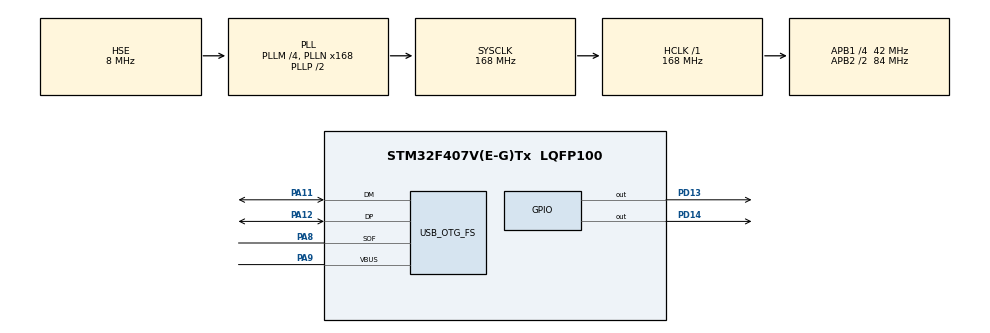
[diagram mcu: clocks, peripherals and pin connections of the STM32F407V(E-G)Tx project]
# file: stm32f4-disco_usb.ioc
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FREERTOS.Tasks01=defaultTask,24,128,StartDefaultTask,Default,NULL,Dynamic,NULL,NULL
FREERTOS.configENABLE_FPU=1
FREERTOS.configTOTAL_HEAP_SIZE=32768
FREERTOS.configUSE_NEWLIB_REENTRANT=1
Mcu.Family=STM32F4
Mcu.Name=STM32F407V(E-G)Tx
Mcu.Package=LQFP100
NVIC.OTG_FS_IRQn=true\:5\:0\:false\:false\:true\:true\:false\:true\:true
NVIC.PriorityGroup=NVIC_PRIORITYGROUP_4
NVIC.TIM1_UP_TIM10_IRQn=true\:15\:0\:false\:false\:true\:false\:false\:true\:true
NVIC.TimeBase=TIM1_UP_TIM10_IRQn
NVIC.TimeBaseIP=TIM1
PA11.Mode=Device_Only
PA11.Signal=USB_OTG_FS_DM
PA12.Mode=Device_Only
PA12.Signal=USB_OTG_FS_DP
PA13.Mode=Serial_Wire
PA13.Signal=SYS_JTMS-SWDIO
PA14.Mode=Serial_Wire
PA14.Signal=SYS_JTCK-SWCLK
PA8.Mode=Activate_SOF_FS
PA8.Signal=USB_OTG_FS_SOF
PA9.Mode=Activate_VBUS
PA9.Signal=USB_OTG_FS_VBUS
PD13.Signal=GPIO_Output
PD14.Signal=GPIO_Output
PH0-OSC_IN.Mode=HSE-External-Oscillator
PH0-OSC_IN.Signal=RCC_OSC_IN
PH1-OSC_OUT.Mode=HSE-External-Oscillator
PH1-OSC_OUT.Signal=RCC_OSC_OUT
ProjectManager.HeapSize=0x200
ProjectManager.StackSize=0x400
ProjectManager.TargetToolchain=STM32CubeIDE
RCC.48MHZClocksFreq_Value=48000000
RCC.AHBFreq_Value=168000000
RCC.APB1CLKDivider=RCC_HCLK_DIV4
RCC.APB1Freq_Value=42000000
RCC.APB1TimFreq_Value=84000000
RCC.APB2CLKDivider=RCC_HCLK_DIV2
RCC.APB2Freq_Value=84000000
RCC.APB2TimFreq_Value=168000000
RCC.CortexFreq_Value=168000000
RCC.HCLKFreq_Value=168000000
RCC.HSE_VALUE=8000000
RCC.HSI_VALUE=16000000
RCC.LSE_VALUE=32768
RCC.PLLM=4
RCC.PLLN=168
RCC.PLLQ=7
RCC.SYSCLKFreq_VALUE=168000000
RCC.SYSCLKSource=RCC_SYSCLKSOURCE_PLLCLK
RCC.VCOOutputFreq_Value=336000000
USB_DEVICE.CLASS_NAME_FS=CDC
USB_DEVICE.VirtualMode-CDC_FS=Cdc
USB_DEVICE.VirtualModeFS=Cdc_FS
USB_OTG_FS.VirtualMode=Device_Only
VP_FREERTOS_VS_CMSIS_V2.Mode=CMSIS_V2
VP_SYS_VS_tim1.Mode=TIM1
VP_USB_DEVICE_VS_USB_DEVICE_CDC_FS.Mode=CDC_FS
board=custom

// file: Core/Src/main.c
/* USER CODE BEGIN Header */
/**
  ******************************************************************************
  * @file           : main.c
  * @brief          : Main program body
  ******************************************************************************
  * @attention
  *
  * Copyright (c) 2022 STMicroelectronics.
  * All rights reserved.
  *
  * This software is licensed under terms that can be found in the LICENSE file
  * in the root directory of this software component.
  * If no LICENSE file comes with this software, it is provided AS-IS.
  *
  ******************************************************************************
  */
/* USER CODE END Header */
#include "main.h"
#include "cmsis_os.h"
#include "usb_device.h"

/* USER CODE BEGIN Includes */
#include "FreeRTOS.h"
#include "usbd_cdc_if.h"
#include "message_buffer.h"
#include "FreeRTOS_CLI.h"
#include "string.h"
//#include "arm_const_structs.h"
#include "semphr.h"
/* USER CODE END Includes */

/* USER CODE BEGIN PD */
#define MAX_INPUT_LENGTH    50
#define MAX_OUTPUT_LENGTH   512

/* USER CODE END PD */

/* Definitions for defaultTask */
osThreadId_t defaultTaskHandle;
const osThreadAttr_t defaultTask_attributes = {
  .name = "defaultTask",
  .stack_size = 512 * 4,
  .priority = (osPriority_t) osPriorityNormal,
};
/* USER CODE BEGIN PV */
TaskHandle_t task_server;
/* USER CODE END PV */

void SystemClock_Config(void);
static void MX_GPIO_Init(void);
void StartDefaultTask(void *argument);

/* USER CODE BEGIN 0 */
uint16_t adcBuffer[256];
float ReIm[256*2];
float mod[256];
xSemaphoreHandle sem;
uint16_t sin_wave[256] = {2048, 2098, 2148, 2199, 2249, 2299, 2349, 2399, 2448, 2498, 2547, 2596, 2644, 2692, 2740,
		2787, 2834, 2880, 2926, 2971, 3016, 3060, 3104, 3147, 3189, 3230, 3271, 3311, 3351, 3389,
		3427, 3464, 3500, 3535, 3569, 3602, 3635, 3666, 3697, 3726, 3754, 3782, 3808, 3833, 3857,
		3880, 3902, 3923, 3943, 3961, 3979, 3995, 4010, 4024, 4036, 4048, 4058, 4067, 4074, 4081,
		4086, 4090, 4093, 4095, 4095, 4094, 4092, 4088, 4084, 4078, 4071, 4062, 4053, 4042, 4030,
		4017, 4002, 3987, 3970, 3952, 3933, 3913, 3891, 3869, 3845, 3821, 3795, 3768, 3740, 3711,
		3681, 3651, 3619, 3586, 3552, 3517, 3482, 3445, 3408, 3370, 3331, 3291, 3251, 3210, 3168,
		3125, 3082, 3038, 2994, 2949, 2903, 2857, 2811, 2764, 2716, 2668, 2620, 2571, 2522, 2473,
		2424, 2374, 2324, 2274, 2224, 2174, 2123, 2073, 2022, 1972, 1921, 1871, 1821, 1771, 1721,
		1671, 1622, 1573, 1524, 1475, 1427, 1379, 1331, 1284, 1238, 1192, 1146, 1101, 1057, 1013,
		970, 927, 885, 844, 804, 764, 725, 687, 650, 613, 578, 543, 509, 476, 444,
		414, 384, 355, 327, 300, 274, 250, 226, 204, 182, 162, 143, 125, 108, 93,
		78, 65, 53, 42, 33, 24, 17, 11, 7, 3, 1, 0, 0, 2, 5,
		9, 14, 21, 28, 37, 47, 59, 71, 85, 100, 116, 134, 152, 172, 193,
		215, 238, 262, 287, 313, 341, 369, 398, 429, 460, 493, 526, 560, 595, 631,
		668, 706, 744, 784, 824, 865, 906, 948, 991, 1035, 1079, 1124, 1169, 1215, 1261,
		1308, 1355, 1403, 1451, 1499, 1548, 1597, 1647, 1696, 1746, 1796, 1846, 1896, 1947, 1997,
		2047};

uint16_t sin_wave_3rd_harmonic[256] = {2048, 2136, 2224, 2311, 2398, 2484, 2569, 2652, 2734, 2814, 2892, 2968, 3041, 3112, 3180,
		3245, 3308, 3367, 3423, 3476, 3526, 3572, 3615, 3654, 3690, 3723, 3752, 3778, 3800, 3819,
		3835, 3848, 3858, 3866, 3870, 3872, 3871, 3869, 3864, 3857, 3848, 3838, 3827, 3814, 3801,
		3786, 3771, 3756, 3740, 3725, 3709, 3694, 3679, 3665, 3652, 3639, 3628, 3617, 3608, 3600,
		3594, 3589, 3585, 3584, 3583, 3584, 3587, 3591, 3597, 3604, 3613, 3622, 3633, 3645, 3658,
		3672, 3686, 3701, 3717, 3732, 3748, 3764, 3779, 3794, 3808, 3821, 3833, 3844, 3853, 3860,
		3866, 3870, 3872, 3871, 3868, 3862, 3854, 3842, 3828, 3810, 3789, 3765, 3738, 3707, 3673,
		3635, 3594, 3549, 3501, 3450, 3396, 3338, 3277, 3213, 3146, 3077, 3005, 2930, 2853, 2774,
		2693, 2611, 2527, 2441, 2355, 2268, 2180, 2092, 2003, 1915, 1827, 1740, 1654, 1568, 1484,
		1402, 1321, 1242, 1165, 1090, 1018, 949, 882, 818, 757, 699, 645, 594, 546, 501,
		460, 422, 388, 357, 330, 306, 285, 267, 253, 241, 233, 227, 224, 223, 225,
		229, 235, 242, 251, 262, 274, 287, 301, 316, 331, 347, 363, 378, 394, 409,
		423, 437, 450, 462, 473, 482, 491, 498, 504, 508, 511, 512, 511, 510, 506,
		501, 495, 487, 478, 467, 456, 443, 430, 416, 401, 386, 370, 355, 339, 324,
		309, 294, 281, 268, 257, 247, 238, 231, 226, 224, 223, 225, 229, 237, 247,
		260, 276, 295, 317, 343, 372, 405, 441, 480, 523, 569, 619, 672, 728, 787,
		850, 915, 983, 1054, 1127, 1203, 1281, 1361, 1443, 1526, 1611, 1697, 1784, 1871, 1959,
		2047};

//void HAL_ADC_ConvCpltCallback(ADC_HandleTypeDef* hadc){
//	xSemaphoreGiveFromISR(sem, pdFALSE);
//}

volatile int counter = 0;
volatile int flag = 0;
volatile float fund_phase;
//void HAL_DACEx_ConvCpltCallbackCh2(DAC_HandleTypeDef* hadc){
//	counter++;
//	if (counter >= 120){
//		counter = 0;
//		HAL_TIM_Base_Stop(&htim2);
//		HAL_DAC_Stop_DMA(&hdac, DAC_CHANNEL_2);
//
//		//if (flag == 0){
//			HAL_DAC_Start_DMA(&hdac, DAC_CHANNEL_2, (uint32_t*)sin_wave_3rd_harmonic, 256, DAC_ALIGN_12B_R);
//			flag = 1;
//		//}else{
//			//HAL_DAC_Start_DMA(&hdac, DAC_CHANNEL_2, (uint32_t*)sin_wave, 256, DAC_ALIGN_12B_R);
//			//flag = 0;
//		//}
//	    HAL_TIM_Base_Start(&htim2);
//	}
//}

//void task_harmonics(void *param){
//	HAL_ADC_Start_DMA(&hadc1, (uint32_t *)adcBuffer, 256);
//    HAL_DAC_Start_DMA(&hdac, DAC_CHANNEL_2, (uint32_t*)sin_wave_3rd_harmonic, 256, DAC_ALIGN_12B_R);
//
//	HAL_TIM_Base_Start(&htim8);
//    HAL_TIM_Base_Start(&htim2);
//
//	while(1){
//		xSemaphoreTake(sem, portMAX_DELAY);
//
//		int k = 0;
//		for(int i = 0; i < 256; i++){
//			ReIm[k] = (float)adcBuffer[i] * 0.0007326007;
//			ReIm[k+1] = 0.0;
//			k += 2;
//		}
//
//		arm_cfft_f32(&arm_cfft_sR_f32_len256,ReIm,0,1);
//		arm_cmplx_mag_f32(ReIm,mod,256);
//		arm_scale_f32(mod, 0.0078125, mod, 128);
//
//		fund_phase = atan2f(ReIm[3],ReIm[2])*180/M_PI;	//Fase R da harmonica fundamental
//		(void)fund_phase;
//	}
//}

uint32_t is_usb_on(void);
typedef struct led_t_ {
	GPIO_TypeDef *port;
	uint16_t pin;
	int timeout;
}led_t;

led_t green_led;
led_t red_led;

void task_led(void *param){
	led_t *led = (led_t *)param;
	while(1){
		if (led->timeout == 0){
			vTaskDelay(100);

		}
		else{
			HAL_GPIO_TogglePin(led->port, led->pin);
			vTaskDelay(led->timeout);
		}
	}
}

void task_usb(void *param){
	uint8_t text[] = "\n\rTeste de USB 2\n\r";
	uint16_t size;
	size = sizeof(text);
	while(!is_usb_on()){
		vTaskDelay(100);
	}
	while(1){
		vTaskDelay(1000);
		queue_print((uint8_t*)text, size);
	}
}

void task_print(void *param){
	uint8_t buf[512];
	while(!is_usb_on()) vTaskDelay(100);
	while(1){
		Print_Task((uint8_t *)&buf);
	}
}

static BaseType_t prvTaskStatsCommand( char *pcWriteBuffer, size_t xWriteBufferLen, const char *pcCommandString )
{
    ( void ) xWriteBufferLen;
    vTaskList(pcWriteBuffer);
    return pdFALSE;
}

static BaseType_t prvLedCommand( char *pcWriteBuffer, size_t xWriteBufferLen, const char *pcCommandString )
{
    ( void ) xWriteBufferLen;
    led_t* led;
    const char* parameters;
    char parameter1[10], parameter2[10], parameter3[10];

    BaseType_t xParameterStringLength;
    GPIO_PinState pin_state;

    parameters = FreeRTOS_CLIGetParameter( pcCommandString,
    				1,
					&xParameterStringLength );
    strncpy(parameter1, parameters, xParameterStringLength);
    parameter1[xParameterStringLength] = '\0';

    if (strcmp("green",parameter1) == 0){
    	led = &green_led;
    }
	else if(strcmp("red",parameter1) == 0){

		led = &red_led;
	}

	else {
		strncpy( pcWriteBuffer, "invalid parameter. should be red or green", 1 + strlen("invalid parameter. should be red or green") );
		return pdFALSE;
	}
	parameters = FreeRTOS_CLIGetParameter( pcCommandString,
					2,
					&xParameterStringLength );
	strncpy(parameter2, parameters, xParameterStringLength);
	parameter2[xParameterStringLength] = '\0';

	if (strcmp("on",parameter2) == 0){
		led->timeout = 0;
		pin_state = HAL_GPIO_ReadPin(led->port, led->pin);
		if (!pin_state){
			HAL_GPIO_TogglePin(led->port, led->pin);
			strncpy( pcWriteBuffer, "led on", 1 + strlen("led on"));
		}
	}
	else if (strcmp("off",parameter2) == 0){
		led->timeout = 0;
		pin_state = HAL_GPIO_ReadPin(led->port, led->pin);
		if (pin_state){
			HAL_GPIO_TogglePin(led->port, led->pin);
			strncpy( pcWriteBuffer, "led off", 1 + strlen("led off"));

		}
		else{
			strncpy( pcWriteBuffer, "led already off", 1 + strlen("led already off"));

		}

	}
	else if(strcmp("toggle",parameter2) == 0){
		parameters = FreeRTOS_CLIGetParameter( pcCommandString,
				3,
				&xParameterStringLength );
		strncpy(parameter3, parameters, xParameterStringLength);
		parameter3[xParameterStringLength] = '\0';
		if (parameter3[0] == '\0'){
			led->timeout = 0;
			HAL_GPIO_TogglePin(led->port, led->pin);
			strncpy( pcWriteBuffer, "led toggle", 1 + strlen("led toggle"));
		}
		else {
			int32_t num = atoi(parameter3);
			if (num < 0){
				strncpy( pcWriteBuffer, "invalid parameter. should be 0 or higher", 1 + strlen("invalid parameter. should be 0 or higher"));
			}
			else{
				led->timeout = num;
				strncpy( pcWriteBuffer, "led toggle interval set", 1 + strlen("led toggle interval set"));
			}

		}

	}
	else{
		strncpy( pcWriteBuffer, "invalid parameter. should be on, off, or toggle xx", 1 + strlen("invalid parameter. should be on, off, or toggle xx"));
	}
    return pdFALSE;
}

static BaseType_t prvHarmonicCommand( char *pcWriteBuffer, size_t xWriteBufferLen, const char *pcCommandString )
{
    ( void ) xWriteBufferLen;
    const char* parameters;
    char parameter1[10], parameter2[10];
    BaseType_t xParameterStringLength;

    parameters = FreeRTOS_CLIGetParameter( pcCommandString,
    				1,
					&xParameterStringLength );
    strncpy(parameter1, parameters, xParameterStringLength);
    parameter1[xParameterStringLength] = '\0';

    if (strcmp("cc",parameter1) == 0){
    	sprintf(pcWriteBuffer, "%f", 0.5*mod[0]);
    }
    else{
    	int16_t init = atoi(parameter1);
    	if ((init > 255) || (init < 0)){
    		strncpy( pcWriteBuffer, "invalid parameter. should be 0<=x<255", 1 + strlen("invalid parameter. should be 0<=x<255"));
    		return pdFALSE;
    	}
    	else{
    	    int16_t amount;
    		parameters = FreeRTOS_CLIGetParameter( pcCommandString,
    	    				2,
    						&xParameterStringLength );
    	    strncpy(parameter2, parameters, xParameterStringLength);
    	    parameter2[xParameterStringLength] = '\0';

    	    amount = atoi(parameter2);
    	    if ((amount > 50) || (amount < 0)){
    	        strncpy( pcWriteBuffer, "invalid parameter. should be 0<=y<50", 1 + strlen("invalid parameter. should be 0<=y<50"));
    	        return pdFALSE;
    	    }
    	    if ((init + amount) > 255){
    	    	amount = 255 - init;
    	    }
    	    for (uint8_t i = init; i <= init + amount; i++){
    	    	sprintf(pcWriteBuffer + strlen(pcWriteBuffer), "mod[%d]*0.5: %f\n\r", i, 0.5*mod[i]);
//    	    	sprintf(pcWriteBuffer + strlen(pcWriteBuffer), "fund phase %d: %f\n\r", i, atan2f(ReIm[2*i+1],ReIm[2*i])*180/M_PI);
    	    	sprintf(pcWriteBuffer + strlen(pcWriteBuffer), "fund phase %d: %f\n\r", i, atan2f(ReIm[2*i+1],ReIm[2*i])*180/3.14);

    	    }

    	}
    }

    return pdFALSE;
}

static BaseType_t prvTaskStatsTexto(char *pcWriteBuffer, size_t xWriteBufferLen, const char *pcCommandString)
{

  strcpy(pcWriteBuffer, (char *)"Isto é apenas um teste, testando 1 2 3...\r\n");
  return pdFALSE;
}

static const CLI_Command_Definition_t xTasksTexto =
    {
        "texto",
        "\r\ntexto:\r\n Quer testar o texte?\r\n\r\n",
        prvTaskStatsTexto,
        0};

static const CLI_Command_Definition_t xTasksCommand =
{
    "tasks",
    "tasks: show tasks\n\r",
	prvTaskStatsCommand,
    0
};

static const CLI_Command_Definition_t xHarmonicCommand =
{
    "harmonic",
    "\n\r cc or x y. x being initial index and y being the wanted amount\n\r",
	prvHarmonicCommand,
    -1
};

static const CLI_Command_Definition_t xLedCommand =
{
    "led",
    "led:\n\rgreen/red: choose green or red \n\ron: turn selected led on\n\r"
    "off: turn selected led off\n\rtoggle: used with a positive integer parameter to set the toggling interval\n\ror 0 to toggle and stop toggling periodicly",
	prvLedCommand,
    -1
};

char pcOutputString[ MAX_OUTPUT_LENGTH ], pcInputString[ MAX_INPUT_LENGTH ];

int8_t cInputIndex = 0;

/* USER CODE END 0 */

int main(void)
{

  /* MCU Configuration--------------------------------------------------------*/

  /* Reset of all peripherals, Initializes the Flash interface and the Systick. */
  HAL_Init();

  /* Configure the system clock */
  SystemClock_Config();

  /* Initialize all configured peripherals */
  MX_GPIO_Init();

  /* Init scheduler */
  osKernelInitialize();

  /* Create the thread(s) */
  /* creation of defaultTask */
  defaultTaskHandle = osThreadNew(StartDefaultTask, NULL, &defaultTask_attributes);

  /* USER CODE BEGIN RTOS_THREADS */
  green_led.timeout = 500;
  green_led.port = GPIOD;
  green_led.pin = GPIO_PIN_13;

  red_led.timeout = 250;
  red_led.port = GPIOD;
  red_led.pin = GPIO_PIN_14;

  xTaskCreate(task_led, "green LED task", 256, &green_led, 1, NULL);
  xTaskCreate(task_led, "red LED task", 256, &red_led, 2, NULL);
  //xTaskCreate(task_usb, "Tarefa USB", 256, NULL, 2, NULL);
  xTaskCreate(task_print, "print task", 512, NULL, 2, NULL);
//  xTaskCreate(task_harmonics, "harmonics task", 512, NULL, 2, NULL);
  /* add threads, ... */
  /* USER CODE END RTOS_THREADS */

  /* Start scheduler */
  osKernelStart();

  /* We should never get here as control is now taken by the scheduler */
  /* Infinite loop */
  while (1)
  {

  }
}

void SystemClock_Config(void)
{
  RCC_OscInitTypeDef RCC_OscInitStruct = {0};
  RCC_ClkInitTypeDef RCC_ClkInitStruct = {0};

  /** Configure the main internal regulator output voltage
  */
  __HAL_RCC_PWR_CLK_ENABLE();
  __HAL_PWR_VOLTAGESCALING_CONFIG(PWR_REGULATOR_VOLTAGE_SCALE1);

  /** Initializes the RCC Oscillators according to the specified parameters
  * in the RCC_OscInitTypeDef structure.
  */
  RCC_OscInitStruct.OscillatorType = RCC_OSCILLATORTYPE_HSE;
  RCC_OscInitStruct.HSEState = RCC_HSE_ON;
  RCC_OscInitStruct.PLL.PLLState = RCC_PLL_ON;
  RCC_OscInitStruct.PLL.PLLSource = RCC_PLLSOURCE_HSE;
  RCC_OscInitStruct.PLL.PLLM = 4;
  RCC_OscInitStruct.PLL.PLLN = 168;
  RCC_OscInitStruct.PLL.PLLP = RCC_PLLP_DIV2;
  RCC_OscInitStruct.PLL.PLLQ = 7;
  if (HAL_RCC_OscConfig(&RCC_OscInitStruct) != HAL_OK)
  {
    Error_Handler();
  }

  /** Initializes the CPU, AHB and APB buses clocks
  */
  RCC_ClkInitStruct.ClockType = RCC_CLOCKTYPE_HCLK|RCC_CLOCKTYPE_SYSCLK
                              |RCC_CLOCKTYPE_PCLK1|RCC_CLOCKTYPE_PCLK2;
  RCC_ClkInitStruct.SYSCLKSource = RCC_SYSCLKSOURCE_PLLCLK;
  RCC_ClkInitStruct.AHBCLKDivider = RCC_SYSCLK_DIV1;
  RCC_ClkInitStruct.APB1CLKDivider = RCC_HCLK_DIV4;
  RCC_ClkInitStruct.APB2CLKDivider = RCC_HCLK_DIV2;

  if (HAL_RCC_ClockConfig(&RCC_ClkInitStruct, FLASH_LATENCY_5) != HAL_OK)
  {
    Error_Handler();
  }
}

static void MX_GPIO_Init(void)
{
  GPIO_InitTypeDef GPIO_InitStruct = {0};

  /* GPIO Ports Clock Enable */
  __HAL_RCC_GPIOH_CLK_ENABLE();
  __HAL_RCC_GPIOD_CLK_ENABLE();
  __HAL_RCC_GPIOA_CLK_ENABLE();

  /*Configure GPIO pin Output Level */
  HAL_GPIO_WritePin(GPIOD, GPIO_PIN_13|GPIO_PIN_14, GPIO_PIN_RESET);

  /*Configure GPIO pins : PD13 PD14 */
  GPIO_InitStruct.Pin = GPIO_PIN_13|GPIO_PIN_14;
  GPIO_InitStruct.Mode = GPIO_MODE_OUTPUT_PP;
  GPIO_InitStruct.Pull = GPIO_NOPULL;
  GPIO_InitStruct.Speed = GPIO_SPEED_FREQ_LOW;
  HAL_GPIO_Init(GPIOD, &GPIO_InitStruct);

}

/* USER CODE BEGIN 4 */
void init_usb_rtos_obj(void);
/* USER CODE END 4 */

void StartDefaultTask(void *argument)
{
  /* init code for USB_DEVICE */
  MX_USB_DEVICE_Init();
  /* USER CODE BEGIN 5 */
  init_usb_rtos_obj();
  //char data[32];

  /* Infinite loop */
	//Peripheral_Descriptor_t xConsole;
	int8_t cInputIndex = 0;

	FreeRTOS_CLIRegisterCommand( &xTasksCommand );
	FreeRTOS_CLIRegisterCommand( &xTasksTexto );
    FreeRTOS_CLIRegisterCommand(&xLedCommand);
//  FreeRTOS_CLIRegisterCommand(&xHarmonicCommand);
    char data[128];
      int amount = 0;
      BaseType_t xMoreDataToFollow;

      for(;;){
    	  amount = CDC_Receivem_FS((uint8_t*)&data, portMAX_DELAY);
    	  for (int i = 0; i<amount; i++){
    		  if (data[i] == '\r'){
    			  queue_print((uint8_t*)"\n\r", 2);
    			  if (cInputIndex != 0){

    				  do{
    					  xMoreDataToFollow = FreeRTOS_CLIProcessCommand(pcInputString, pcOutputString, MAX_OUTPUT_LENGTH);
    					  if (strlen(pcOutputString)){
    						  sprintf(pcOutputString + strlen(pcOutputString), "\n\r");
    						  queue_print((uint8_t*)pcOutputString, strlen(pcOutputString));
    					  	  memset(pcOutputString, 0, MAX_OUTPUT_LENGTH);
    					  }
    				  }while (xMoreDataToFollow != pdFALSE);

    				  cInputIndex = 0;
    				  memset(pcInputString, 0, MAX_INPUT_LENGTH);
    			  }
    		  }
    		  else{
    			  if (data[i] == 127){ //backspace
    				  if (cInputIndex > 0){
    					  cInputIndex--;
    					  pcInputString[cInputIndex] = 0;
    					  queue_print((uint8_t*)&data, amount);
    				  }
    			  }
    			  else{
    				  if (cInputIndex <MAX_INPUT_LENGTH){
    					  pcInputString[cInputIndex] = data[i];
    					  cInputIndex++;
    					  queue_print((uint8_t*)&data, amount);
    				  }
    			  }
    		  }
    	  }
      }

  /* USER CODE END 5 */
}

void HAL_TIM_PeriodElapsedCallback(TIM_HandleTypeDef *htim)
{
  if (htim->Instance == TIM1) {
    HAL_IncTick();
  }
}

void Error_Handler(void)
{
  __disable_irq();
  while (1)
  {
  }
}
